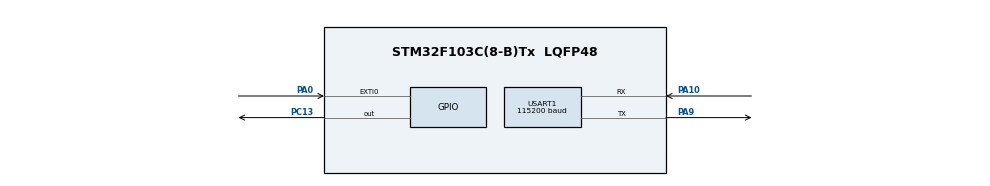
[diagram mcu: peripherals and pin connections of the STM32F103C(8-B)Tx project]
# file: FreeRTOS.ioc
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Mcu.Family=STM32F1
Mcu.Name=STM32F103C(8-B)Tx
Mcu.Package=LQFP48
NVIC.EXTI0_IRQn=true\:0\:0\:false\:false\:true\:true\:true\:true
NVIC.PriorityGroup=NVIC_PRIORITYGROUP_4
NVIC.TIM2_IRQn=true\:15\:0\:false\:false\:true\:false\:true\:true
NVIC.TimeBase=TIM2_IRQn
NVIC.TimeBaseIP=TIM2
PA0-WKUP.GPIO_PuPd=GPIO_PULLDOWN
PA0-WKUP.Signal=GPXTI0
PA10.Mode=Asynchronous
PA10.Signal=USART1_RX
PA9.Mode=Asynchronous
PA9.Signal=USART1_TX
PC13-TAMPER-RTC.Signal=GPIO_Output
ProjectManager.HeapSize=0x200
ProjectManager.StackSize=0x400
ProjectManager.TargetToolchain=STM32CubeIDE
RCC.APB1Freq_Value=8000000
RCC.APB2Freq_Value=8000000
USART1.BaudRate=115200
USART1.VirtualMode=VM_ASYNC
VP_SYS_VS_ND.Mode=No_Debug
VP_SYS_VS_tim2.Mode=TIM2
board=custom

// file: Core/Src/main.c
/* USER CODE BEGIN Header */
/**
  ******************************************************************************
  * @file           : main.c
  * @brief          : Main program body
  ******************************************************************************
  * @attention
  *
  * Copyright (c) 2026 STMicroelectronics.
  * All rights reserved.
  *
  * This software is licensed under terms that can be found in the LICENSE file
  * in the root directory of this software component.
  * If no LICENSE file comes with this software, it is provided AS-IS.
  *
  ******************************************************************************
  */
/* USER CODE END Header */
#include "main.h"

/* USER CODE BEGIN Includes */
#include <stdint.h>
#include <stdio.h>
#include "freeRTOS.h"
#include "task.h"
#include "event_groups.h"
#include "semphr.h"
#include "timers.h"
/* USER CODE END Includes */

/* USER CODE BEGIN PD */
#define COUNTER 0
#define SHARED 1
#define EVENT_BIT (1UL << 0 )
/* USER CODE END PD */

UART_HandleTypeDef huart1;

void SystemClock_Config(void);
static void MX_GPIO_Init(void);
static void MX_USART1_UART_Init(void);
/* USER CODE BEGIN PFP */

void vCalcSwitch1Task();
void vIncreaseVarTask();
void vDecreaseVarTask();
void vUARTTask();
typedef struct{
	 int data;
	 int value;

}UARTDataStruct;

QueueHandle_t UARTData;
TaskHandle_t CalcSwitch1;
TaskHandle_t IncreaseVar;
TaskHandle_t DecreaseVar;
TaskHandle_t UART;
SemaphoreHandle_t xSemaphore;
EventGroupHandle_t xEventHandle;

int counter =0;
int shared =0;

/* USER CODE END PFP */

int main(void)
{

  /* MCU Configuration--------------------------------------------------------*/

  /* Reset of all peripherals, Initializes the Flash interface and the Systick. */
  HAL_Init();

  /* Configure the system clock */
  SystemClock_Config();

  /* Initialize all configured peripherals */
  MX_GPIO_Init();
  MX_USART1_UART_Init();
  /* USER CODE BEGIN 2 */
xTaskCreate(vCalcSwitch1Task, "CalcSwitch1", 50, NULL, 1, NULL); 	// FreeRTOS xTaskCreate API in task creation section

xTaskCreate(vIncreaseVarTask, "IncreaseVar", 50, NULL, 1, NULL);	// FreeRTOS xTaskCreate API in task creation section

xTaskCreate(vDecreaseVarTask, "DecreaseVar", 50, NULL, 1, NULL);	// FreeRTOS xTaskCreate API in task creation section

xTaskCreate(vUARTTask,"UARTTASK",100,NULL,1,NULL);

UARTData = xQueueCreate(10,sizeof(UARTDataStruct)); 	// FreeRTOS xQueueCreate API in queues  section

xSemaphore = xSemaphoreCreateMutex(); 					// FreeRTOS xSemaphoreCreateMutex API in Semaphores & Mutexes section

xEventHandle = xEventGroupCreate(); 					// FreeRTOS xEventGroupCreate API in Event groups or Flags section

  vTaskStartScheduler();         						//FRee RTOS  vTaskStartScheduler API from Kernal control section
  /* USER CODE END 2 */

  /* Infinite loop */
  while (1)
  {

  }
}

void SystemClock_Config(void)
{
  RCC_OscInitTypeDef RCC_OscInitStruct = {0};
  RCC_ClkInitTypeDef RCC_ClkInitStruct = {0};

  /** Initializes the RCC Oscillators according to the specified parameters
  * in the RCC_OscInitTypeDef structure.
  */
  RCC_OscInitStruct.OscillatorType = RCC_OSCILLATORTYPE_HSI;
  RCC_OscInitStruct.HSIState = RCC_HSI_ON;
  RCC_OscInitStruct.HSICalibrationValue = RCC_HSICALIBRATION_DEFAULT;
  RCC_OscInitStruct.PLL.PLLState = RCC_PLL_NONE;
  if (HAL_RCC_OscConfig(&RCC_OscInitStruct) != HAL_OK)
  {
    Error_Handler();
  }

  /** Initializes the CPU, AHB and APB buses clocks
  */
  RCC_ClkInitStruct.ClockType = RCC_CLOCKTYPE_HCLK|RCC_CLOCKTYPE_SYSCLK
                              |RCC_CLOCKTYPE_PCLK1|RCC_CLOCKTYPE_PCLK2;
  RCC_ClkInitStruct.SYSCLKSource = RCC_SYSCLKSOURCE_HSI;
  RCC_ClkInitStruct.AHBCLKDivider = RCC_SYSCLK_DIV1;
  RCC_ClkInitStruct.APB1CLKDivider = RCC_HCLK_DIV1;
  RCC_ClkInitStruct.APB2CLKDivider = RCC_HCLK_DIV1;

  if (HAL_RCC_ClockConfig(&RCC_ClkInitStruct, FLASH_LATENCY_0) != HAL_OK)
  {
    Error_Handler();
  }
}

static void MX_USART1_UART_Init(void)
{

  huart1.Instance = USART1;
  huart1.Init.BaudRate = 115200;
  huart1.Init.WordLength = UART_WORDLENGTH_8B;
  huart1.Init.StopBits = UART_STOPBITS_1;
  huart1.Init.Parity = UART_PARITY_NONE;
  huart1.Init.Mode = UART_MODE_TX_RX;
  huart1.Init.HwFlowCtl = UART_HWCONTROL_NONE;
  huart1.Init.OverSampling = UART_OVERSAMPLING_16;
  if (HAL_UART_Init(&huart1) != HAL_OK)
  {
    Error_Handler();
  }

}

static void MX_GPIO_Init(void)
{
  GPIO_InitTypeDef GPIO_InitStruct = {0};

  /* GPIO Ports Clock Enable */
  __HAL_RCC_GPIOC_CLK_ENABLE();
  __HAL_RCC_GPIOA_CLK_ENABLE();

  /*Configure GPIO pin Output Level */
  HAL_GPIO_WritePin(GPIOC, GPIO_PIN_13, GPIO_PIN_RESET);

  /*Configure GPIO pin : PC13 */
  GPIO_InitStruct.Pin = GPIO_PIN_13;
  GPIO_InitStruct.Mode = GPIO_MODE_OUTPUT_PP;
  GPIO_InitStruct.Pull = GPIO_NOPULL;
  GPIO_InitStruct.Speed = GPIO_SPEED_FREQ_LOW;
  HAL_GPIO_Init(GPIOC, &GPIO_InitStruct);

  /*Configure GPIO pin : PA0 */
  GPIO_InitStruct.Pin = GPIO_PIN_0;
  GPIO_InitStruct.Mode = GPIO_MODE_IT_RISING;
  GPIO_InitStruct.Pull = GPIO_PULLDOWN;
  HAL_GPIO_Init(GPIOA, &GPIO_InitStruct);

  /* EXTI interrupt init*/
  HAL_NVIC_SetPriority(EXTI0_IRQn, 0, 0);
  HAL_NVIC_EnableIRQ(EXTI0_IRQn);

}

/* USER CODE BEGIN 4 */
void HAL_GPIO_EXTI_Callback(uint16_t GPIO_PIN){  //HAL page 228 Description of STM32F1 HAL and low-layer drivers - User manual
	BaseType_t xResult,xHigherPriorityTaskWoken = pdFALSE;
		if(GPIO_PIN == GPIO_PIN_0){
			counter++;
			if(counter >= 9) counter = 0;
			xResult= xEventGroupSetBitsFromISR(xEventHandle,EVENT_BIT,&xHigherPriorityTaskWoken); // FreeRTOS xEventGroupSetBitsFromISR API in Event groups or Flags section
			portYIELD_FROM_ISR(xHigherPriorityTaskWoken); 										 // was in the sample code of xEventGroupSetBitsFromISR it triggers the context switching

		}
	}
void vApplicationStackOverflowHook(TaskHandle_t xTask, char *pcTaskName) // this hook function prevents an overflow error, i didn't study it yet i searched and copied it
{
    void xTask;
    void pcTaskName;

    taskDISABLE_INTERRUPTS();
    while(1){}
}

void vCalcSwitch1Task(void *pvParameters){

	UARTDataStruct msg;

	EventBits_t xbit;
	while(1){
		xbit = xEventGroupWaitBits(xEventHandle,EVENT_BIT,pdTRUE,pdTRUE,2); 	// FreeRTOS xEventGroupWaitBits  API in Event groups or Flags section
		if(xSemaphoreTake(xSemaphore,0) == pdTRUE){								// FreeRTOS xSemaphoreTake API in Semaphores & Mutexes section
			uint32_t xCounter = counter * 10;
			msg.data = COUNTER;
			msg.value = xCounter;
			xQueueSend(UARTData,&msg,0);										// FreeRTOS xQueueSend API in Queues section
			xSemaphoreGive( xSemaphore );									    // FreeRTOS xSemaphoreGive API in Semaphores & Mutexes section

		};

	}

};
void vIncreaseVarTask(void *pvParameters){

	UARTDataStruct msg;
	TickType_t xLastWakeTime = xTaskGetTickCount();
	while(1){
		vTaskDelayUntil(&xLastWakeTime,10);					//FreeRTOS vTaskDelayUntil() API in Task control section
			if(xSemaphoreTake(xSemaphore,0) == pdTRUE){     // FreeRTOS xSemaphoreTake API in Semaphores & Mutexes section

			shared++;
			if (shared > 200) shared = 100;
			msg.data = SHARED;
			msg.value = shared;
			xQueueSend(UARTData,&msg,0);					// FreeRTOS xQueueSend API in Queues section
			xSemaphoreGive( xSemaphore );  					// FreeRTOS xSemaphoreGive API in Semaphores & Mutexes section
			};
	}
};
void vDecreaseVarTask(void *pvParameters){
	UARTDataStruct msg;
	TickType_t xLastWakeTime = xTaskGetTickCount();
	while(1){
		vTaskDelayUntil(&xLastWakeTime,12);				  //FreeRTOS vTaskDelayUntil() API in Task control section
		if(xSemaphoreTake(xSemaphore,0) == pdTRUE){		  // FreeRTOS xSemaphoreTake API in Semaphores & Mutexes section
		shared--;
		if (shared < 100) shared = 200;
		msg.data = SHARED;
		msg.value = shared;

		xQueueSend(UARTData,&msg,0);					 // FreeRTOS xQueueSend API in Queues section
	    xSemaphoreGive( xSemaphore );   				 // FreeRTOS xSemaphoreGive API in Semaphores & Mutexes section
		};
	};

	};

void vUARTTask(void *pvParameters){

	TickType_t xLastWakeTime = xTaskGetTickCount();
	UARTDataStruct ReceivedData;
	char buffer[20];
	while(1){
		vTaskDelayUntil(&xLastWakeTime,5);								//FreeRTOS vTaskDelayUntil() API in Task control section
		 xQueueReceive(UARTData,&ReceivedData,0);						// FreeRTOS xQueueReceive API in Queues section
		 int data =0;
		 if(ReceivedData.data == COUNTER){
			 data = snprintf(buffer,sizeof(buffer),"Counter: %d",ReceivedData.value);
		 }else if(ReceivedData.data == SHARED){
		data = snprintf(buffer,sizeof(buffer),"Shared: %d",ReceivedData.value);
		 };
		 HAL_UART_Transmit(&huart1,(uint8_t*)buffer,data,HAL_MAX_DELAY);  // HAL page 556 Description of STM32F1 HAL and low-layer drivers - User manual

	}

}

/* USER CODE END 4 */

void HAL_TIM_PeriodElapsedCallback(TIM_HandleTypeDef *htim)
{
  if (htim->Instance == TIM2)
  {
    HAL_IncTick();
  }
}

void Error_Handler(void)
{
  /* USER CODE BEGIN Error_Handler_Debug */
  /* User can add his own implementation to report the HAL error return state */
  __disable_irq();
  while (1)
  {
  };
  /* USER CODE END Error_Handler_Debug */
}
